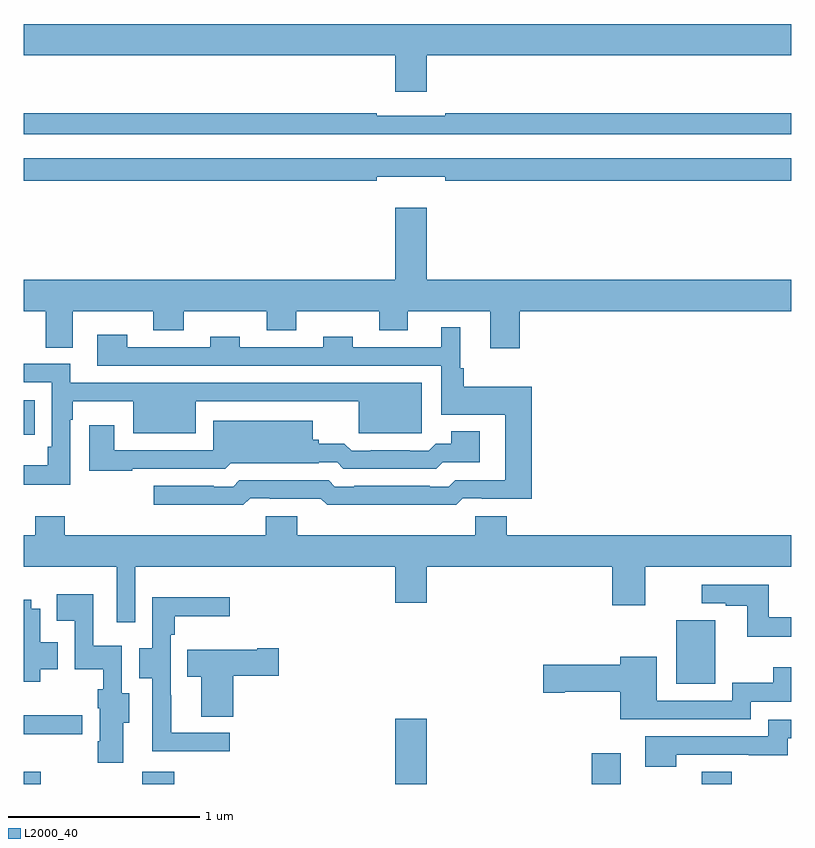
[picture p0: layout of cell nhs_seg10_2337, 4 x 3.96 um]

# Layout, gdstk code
import gdstk
lib = gdstk.Library(unit=1e-6, precision=1e-09)
def R(c, l, rs):  # rectangles x0, y0, x1, y1
    for r in rs: c.add(gdstk.rectangle(r[:2], r[2:], *l))
def P(c, l, *ps):  # polygons
    for p in ps: c.add(gdstk.Polygon(p, *l))
L2000_40 = (2000, 40)

nhs_seg10_2337 = lib.new_cell('nhs_seg10_2337')
R(nhs_seg10_2337, L2000_40, [(235,1316.5,235.088,1316.563), (235.619,1316.5,235.784,1316.563), (236.936,1316.5,237.1,1316.839), (237.959,1316.5,238.111,1316.659), (238.534,1316.5,238.689,1316.563), (235,1316.759,235.306,1316.857), (238.4,1317.023,238.603,1317.352), (235,1318.32,235.057,1318.5)])
P(nhs_seg10_2337, L2000_40, [(237.1,1320.296),(239,1320.296),(239,1320.46),(235,1320.46),(235,1320.296),(236.936,1320.296),(236.936,1320.108),(237.1,1320.108)],
  [(239,1319.995),(237.196,1319.995),(237.196,1319.982),(236.84,1319.982),(236.84,1319.995),(235,1319.995),(235,1319.886),(239,1319.886)],
  [(236.84,1319.663),(237.196,1319.663),(237.196,1319.644),(239,1319.644),(239,1319.76),(235,1319.76),(235,1319.644),(236.84,1319.644)],
  [(237.584,1318.964),(239,1318.964),(239,1319.128),(237.1,1319.128),(237.1,1319.503),(236.936,1319.503),(236.936,1319.128),(235,1319.128),(235,1318.964),(235.115,1318.964),(235.115,1318.774),(235.255,1318.774),(235.255,1318.964),(235.675,1318.964),(235.675,1318.865),(235.833,1318.865),(235.833,1318.964),(236.266,1318.964),(236.266,1318.865),(236.421,1318.865),(236.421,1318.964),(236.854,1318.964),(236.854,1318.865),(237.001,1318.865),(237.001,1318.964),(237.431,1318.964),(237.431,1318.77),(237.584,1318.77)],
  [(236.181,1317.99),(236.281,1317.99),(236.281,1317.986),(236.549,1317.986),(236.582,1317.954),(236.78,1317.954),(236.78,1317.956),(237.058,1317.956),(237.058,1317.954),(237.253,1317.954),(237.289,1317.99),(237.388,1317.99),(237.388,1317.987),(237.647,1317.987),(237.647,1318.57),(237.293,1318.57),(237.293,1318.666),(237.274,1318.666),(237.274,1318.879),(237.176,1318.879),(237.176,1318.776),(236.715,1318.776),(236.715,1318.831),(236.56,1318.831),(236.56,1318.776),(236.127,1318.776),(236.127,1318.831),(235.972,1318.831),(235.972,1318.776),(235.539,1318.776),(235.539,1318.84),(235.383,1318.84),(235.383,1318.68),(237.177,1318.68),(237.177,1318.424),(237.509,1318.424),(237.509,1318.083),(237.249,1318.083),(237.216,1318.05),(237.116,1318.05),(237.116,1318.053),(236.722,1318.053),(236.722,1318.05),(236.622,1318.05),(236.589,1318.083),(236.124,1318.083),(236.091,1318.05),(235.991,1318.05),(235.991,1318.053),(235.677,1318.053),(235.677,1317.956),(235.92,1317.956),(235.92,1317.954),(236.145,1317.954)],
  [(235.242,1318.397),(235.255,1318.397),(235.255,1318.494),(235.571,1318.494),(235.571,1318.328),(235.897,1318.328),(235.897,1318.494),(236.747,1318.494),(236.747,1318.328),(237.073,1318.328),(237.073,1318.591),(236.851,1318.591),(236.851,1318.59),(235.243,1318.59),(235.243,1318.689),(235,1318.689),(235,1318.593),(235.146,1318.593),(235.146,1318.258),(235.126,1318.258),(235.126,1318.162),(235,1318.162),(235,1318.058),(235.242,1318.058)],
  [(235.567,1318.143),(236.05,1318.143),(236.079,1318.172),(236.537,1318.172),(236.537,1318.176),(236.633,1318.176),(236.666,1318.143),(237.15,1318.143),(237.183,1318.176),(237.376,1318.176),(237.376,1318.339),(237.227,1318.339),(237.227,1318.273),(237.148,1318.273),(237.111,1318.236),(237.011,1318.236),(237.011,1318.239),(236.809,1318.239),(236.809,1318.236),(236.709,1318.236),(236.671,1318.274),(236.538,1318.274),(236.538,1318.294),(236.506,1318.294),(236.506,1318.393),(235.989,1318.393),(235.989,1318.239),(235.471,1318.239),(235.471,1318.369),(235.343,1318.369),(235.343,1318.131),(235.567,1318.131)],
  [(235.581,1317.632),(236.936,1317.632),(236.936,1317.444),(237.1,1317.444),(237.1,1317.632),(238.067,1317.632),(238.067,1317.432),(238.239,1317.432),(238.239,1317.632),(239,1317.632),(239,1317.796),(237.518,1317.796),(237.518,1317.895),(237.353,1317.895),(237.353,1317.796),(236.426,1317.796),(236.426,1317.895),(236.261,1317.895),(236.261,1317.796),(235.214,1317.796),(235.214,1317.895),(235.061,1317.895),(235.061,1317.796),(235,1317.796),(235,1317.632),(235.485,1317.632),(235.485,1317.342),(235.581,1317.342)],
  [(239,1317.37),(238.882,1317.37),(238.882,1317.537),(238.533,1317.537),(238.533,1317.441),(238.659,1317.441),(238.659,1317.429),(238.769,1317.429),(238.769,1317.266),(239,1317.266)],
  [(235.519,1316.818),(235.549,1316.818),(235.549,1316.973),(235.512,1316.973),(235.512,1317.22),(235.362,1317.22),(235.362,1317.49),(235.173,1317.49),(235.173,1317.35),(235.266,1317.35),(235.266,1317.098),(235.414,1317.098),(235.414,1316.994),(235.385,1316.994),(235.385,1316.894),(235.397,1316.894),(235.397,1316.722),(235.385,1316.722),(235.385,1316.61),(235.519,1316.61)],
  [(236.074,1316.766),(235.768,1316.766),(235.768,1316.963),(235.767,1316.963),(235.767,1317.278),(235.787,1317.278),(235.787,1317.374),(236.074,1317.374),(236.074,1317.472),(235.671,1317.472),(235.671,1317.207),(235.601,1317.207),(235.601,1317.052),(235.671,1317.052),(235.671,1316.67),(236.074,1316.67)],
  [(235.087,1317.098),(235.177,1317.098),(235.177,1317.238),(235.087,1317.238),(235.087,1317.412),(235.039,1317.412),(235.039,1317.46),(235,1317.46),(235,1317.032),(235.087,1317.032)],
  [(236.093,1317.065),(236.329,1317.065),(236.329,1317.207),(236.216,1317.207),(236.216,1317.199),(235.852,1317.199),(235.852,1317.059),(235.925,1317.059),(235.925,1316.851),(236.093,1316.851)],
  [(238.788,1316.928),(239,1316.928),(239,1317.109),(238.906,1317.109),(238.906,1317.027),(238.692,1317.027),(238.692,1316.934),(238.3,1316.934),(238.3,1317.163),(238.109,1317.163),(238.109,1317.122),(237.708,1317.122),(237.708,1316.975),(237.82,1316.975),(237.82,1316.98),(238.109,1316.98),(238.109,1316.838),(238.788,1316.838)],
  [(238.4,1316.652),(238.777,1316.652),(238.777,1316.651),(238.981,1316.651),(238.981,1316.739),(239,1316.739),(239,1316.835),(238.88,1316.835),(238.88,1316.748),(238.239,1316.748),(238.239,1316.589),(238.4,1316.589)])

lib.write_gds('nhs_seg10_2337.gds')
